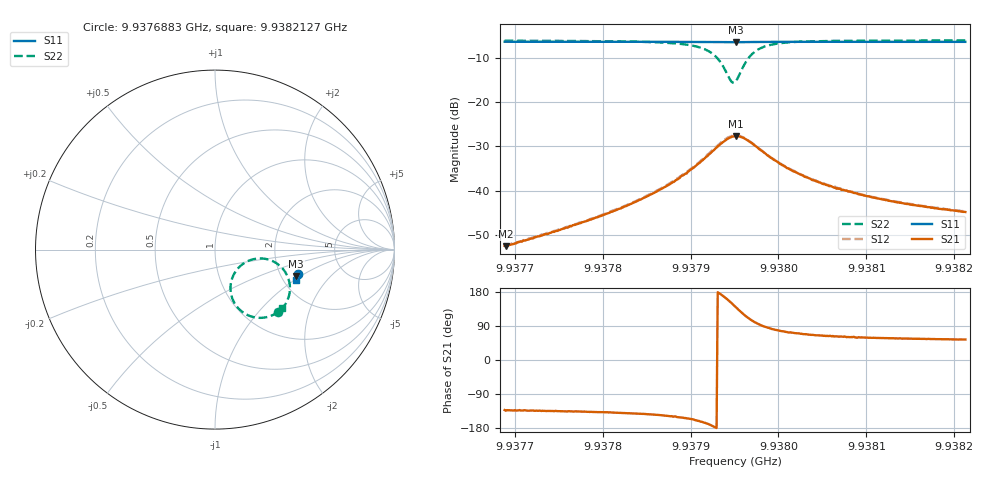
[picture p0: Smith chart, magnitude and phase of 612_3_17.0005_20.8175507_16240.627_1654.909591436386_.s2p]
#  HZ  S  RI  R  50.00
! Rohde & Schwarz Vector Network Analyzer
! Rohde-Schwarz,ZNB20-2Port,1311601062101988,3.16
! Created: UTC 3/20/2024, 11:19:35 PM
! freq[Hz]  re:S11  im:S11  re:S21  im:S21  re:S12  im:S12  re:S22  im:S22
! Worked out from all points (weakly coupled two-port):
!   401 points, 9.9376883 GHz to 9.9382127 GHz, reference 50 ohm
!   highest |S21| = -27.72 dB at 9.9379518 GHz (marker M1); lowest = -52.6 dB at 9.9376896 GHz (marker M2)
!   lowest |S11| = -6.4 dB at 9.9379518 GHz (marker M3), VSWR 2.82, Z = 120 - j46 ohm
!   |S11| at or under -10 dB: nowhere
!   |S22| runs from -15.6 to -6.1 dB; largest |S21 - S12| = 0.0021
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9.93768827e9  0.463 -0.1337  -0.00159 -0.00176  -0.00165 -0.00173  0.3535 -0.3457
9.93768958e9  0.4629 -0.1338  -0.00162 -0.00169  -0.00167 -0.00169  0.3533 -0.3459
9.93777611e9  0.4606 -0.1398  -0.00314 -0.00303  -0.00323 -0.00298  0.3351 -0.3579
9.93782331e9  0.4594 -0.143  -0.00493 -0.00419  -0.00507 -0.00421  0.3164 -0.3671
9.93786396e9  0.4581 -0.1459  -0.0083 -0.00578  -0.00853 -0.00577  0.2858 -0.3767
9.93789936e9  0.4563 -0.1484  -0.0155 -0.00714  -0.016 -0.00692  0.2249 -0.3782
9.93791903e9  0.4547 -0.1497  -0.0239 -0.00509  -0.025 -0.00477  0.1567 -0.3501
9.93792952e9  0.4537 -0.15  -0.0306 -0.000262  -0.0315 0.000607  0.1107 -0.301
9.93793869e9  0.4526 -0.1495  -0.0353 0.00882  -0.0361 0.0103  0.0864 -0.2201
9.93794656e9  0.4521 -0.1487  -0.0349 0.0199  -0.0351 0.0219  0.1092 -0.1306
9.93795049e9  0.4523 -0.1483  -0.032 0.0254  -0.0319 0.0275  0.1411 -0.0917
9.9379518e9  0.4523 -0.1481  -0.0308 0.0273  -0.0306 0.0292  0.1544 -0.0808
9.93795836e9  0.4531 -0.1477  -0.0226 0.0331  -0.0215 0.0342  0.2299 -0.0504
9.93796492e9  0.4538 -0.1479  -0.0137 0.0342  -0.0126 0.0351  0.3001 -0.0562
9.93797147e9  0.4546 -0.1482  -0.00677 0.0324  -0.00586 0.0329  0.351 -0.082
9.93797803e9  0.4551 -0.1488  -0.00201 0.0294  -0.00113 0.0296  0.383 -0.1136
9.93798983e9  0.4554 -0.1502  0.0025 0.024  0.00327 0.024  0.4096 -0.1641
9.93800687e9  0.4554 -0.152  0.0048 0.0181  0.00532 0.0181  0.4177 -0.2142
9.93803834e9  0.4547 -0.1547  0.00527 0.012  0.00573 0.0121  0.4106 -0.2627
9.93807767e9  0.4538 -0.1576  0.00493 0.00865  0.00504 0.00864  0.3992 -0.2914
9.93812618e9  0.4524 -0.161  0.0041 0.00646  0.00428 0.00647  0.3885 -0.3097
9.93821272e9  0.4501 -0.1666  0.00335 0.00463  0.00348 0.00463  0.3754 -0.3269
